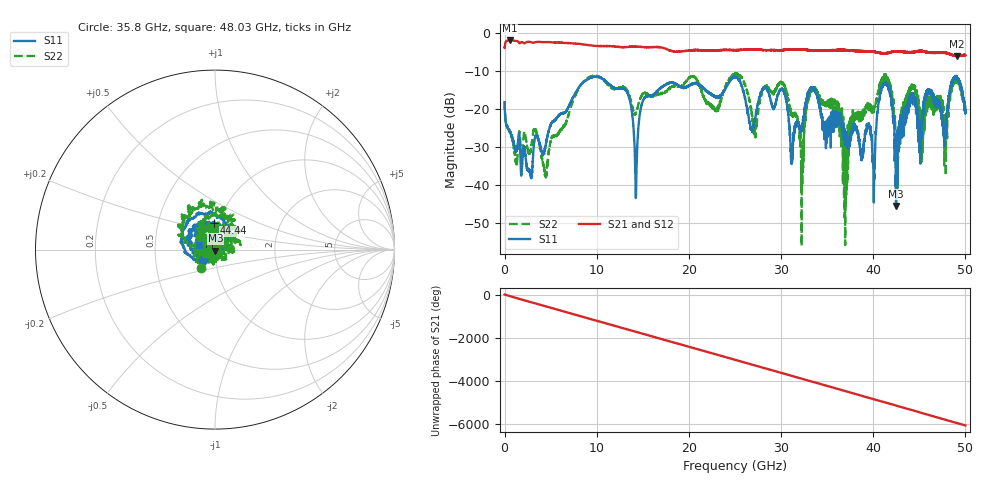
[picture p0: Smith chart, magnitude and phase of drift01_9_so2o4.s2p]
!Created with skrf (http://scikit-rf.org).
# Hz S RI R 50.0
!freq ReS11 ImS11 ReS21 ImS21 ReS12 ImS12 ReS22 ImS22
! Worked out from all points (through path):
!   10001 points, 300 kHz to 50 GHz, reference 50 ohm
!   highest |S21| = -2.00 dB at 570.3 MHz (marker M1); lowest = -6.1 dB at 49.05 GHz (marker M2)
!   group delay of S21, straight-line fit = 336 ps
!   lowest |S11| = -45.4 dB at 42.48 GHz (marker M3), VSWR 1.01, Z = 50.2 - j0.509 ohm
!   |S11| at or under -10 dB: start of sweep to end of sweep
!   |S22| runs from -56.0 to -10.5 dB; largest |S21 - S12| = 0.018
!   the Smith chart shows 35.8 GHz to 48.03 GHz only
!   S11 on the Smith chart (normalised r, x): 35.8 GHz: 0.87, -0.10; 44.44 GHz: 0.95, +0.28; 48.03 GHz: 0.84, +0.04
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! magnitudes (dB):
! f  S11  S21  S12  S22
! 300 kHz  -18.2  -3.9  -4.0  -17.9
! 570.3 MHz  -26.0  -2.0  -2.0  -26.1
! 4.435 GHz  -29.8  -2.4  -2.4  -37.1
! 8.335 GHz  -13.5  -3.0  -3.0  -13.5
! 13.16 GHz  -15.1  -3.8  -3.8  -14.6
! 14.25 GHz  -42.7  -3.6  -3.6  -21.1
! 16.67 GHz  -14.9  -3.7  -3.7  -15.9
! 25 GHz  -11.6  -4.5  -4.6  -10.9
! 27.14 GHz  -22.7  -4.3  -4.3  -26.1
! 30.21 GHz  -15.1  -4.5  -4.5  -13.5
! 31.14 GHz  -32.4  -4.3  -4.4  -21.5
! 32.23 GHz  -24.9  -4.4  -4.4  -56.0
! 33.34 GHz  -14.4  -4.7  -4.6  -14.7
! 35.8 GHz  -21.3  -4.6  -4.6  -18.0
! 37.03 GHz  -26.4  -4.5  -4.6  -36.6
! 40.06 GHz  -43.6  -5.0  -5.0  -20.5
! 41.67 GHz  -14.4  -5.2  -5.2  -12.8
! 42.48 GHz  -45.4  -4.9  -4.8  -31.6
! 44.44 GHz  -16.7  -5.0  -5.0  -14.7
! 48.03 GHz  -20.8  -5.3  -5.3  -24.9
! 49.05 GHz  -11.6  -6.1  -6.1  -12.5
! 50 GHz  -20.2  -5.9  -5.8  -19.4
